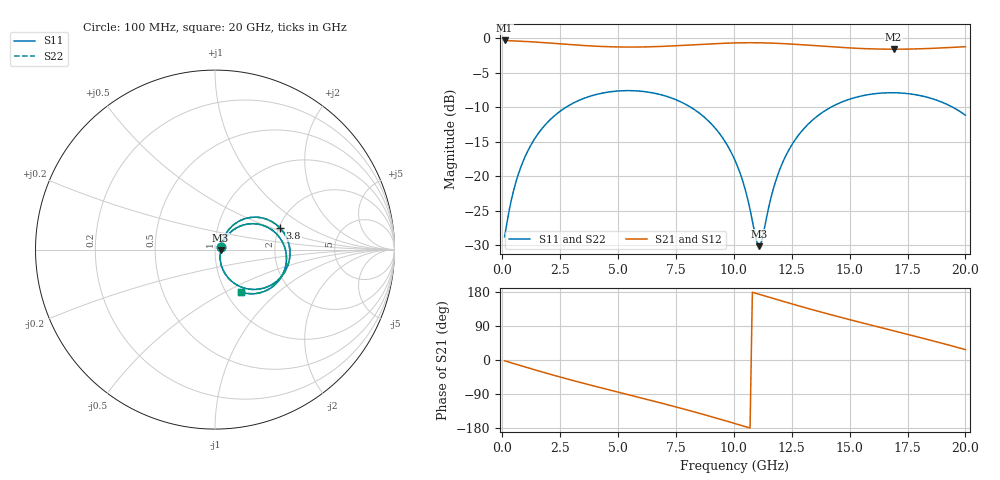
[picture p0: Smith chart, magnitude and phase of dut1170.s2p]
! Touchstone file exported from HFSS 2026.1.0
!  File:  C:/ffzhzh/LocalFiles/Ansys_Project_Files/temp_train_TSV_RDL_1170_1783314082_5512.aedt
!  Generated:  01:14:10 PM Jul  6, 2026
!  Design:  TSV_RDL
!  Project:  temp_train_TSV_RDL_1170_1783314082_5512
! Variables:
!  h_bsmrdl = 2.6um
!  h_ox = 20um
!  h_rdl = 5um
!  h_sub = 72.9um
!  h_tmrdl = 4.33um
!  h_tsv = 72.9um
!  h_via = 3um
!  l_bsmrdl = 504.16um
!  l_sub = 5756.35um
!  l_tmrdl = 935.64um
!  m_sub = 200um
!  pitch = 33.09um
!  r_tsv = 5.62um
!  s_tmrdl = 10um
!  w_bsmrdl = 12.17um
!  w_sub = 500um
!  w_tmrdl = 21.6um
!  x_tsv_center1 = 946.44um
!  x_tsv_center2 = 1462.77um
!  x_tsv_center3 = 2420.01um
!  x_tsv_center4 = 2936.34um
!  x_tsv_center5 = 3893.58um
!  x_tsv_center6 = 4409.91um
# GHz S MA R 50.000000
! Terminal data exported
! Port[1] = TM_RDL1_1_T1
! Port[2] = TM_RDL5_1_T1
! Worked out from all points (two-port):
!   200 points, 100 MHz to 20 GHz, reference 50 ohm
!   highest |S21| = -0.29 dB at 100 MHz (marker M1); lowest = -1.6 dB at 16.9 GHz (marker M2)
!   |S21| within 3 dB of the highest: start of sweep to end of sweep
!   lowest |S11| = -30.1 dB at 11.1 GHz (marker M3), VSWR 1.06, Z = 53.2 - j0.474 ohm
!   |S11| at or under -10 dB: start of sweep to 2.738 GHz; 8.153 GHz to 14.18 GHz (6.022 GHz wide, 53.9 % of centre); 19.47 GHz to end of sweep
!   |S22| runs from -30.3 to -7.6 dB; largest |S21 - S12| = 2.2e-14
!   S11 on the Smith chart (normalised r, x): 100 MHz: 1.07, +0.03; 3.8 GHz: 2.03, +0.57; 20 GHz: 1.17, -0.60
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0.1  0.03647 23.8  0.967 -2.0  0.967 -2.0  0.03647 23.8
! Gamma 0 0 0 0
! Port Impedance 50 0 50 0
0.6  0.09251 54.5  0.9586 -11.4  0.9586 -11.4  0.09251 54.5
1.3  0.1762 52.8  0.9449 -24.1  0.9449 -24.1  0.1762 52.8
2.3  0.2795 40.2  0.9193 -41.6  0.9193 -41.6  0.2795 40.2
3.5  0.3666 22.8  0.889 -61.4  0.889 -61.4  0.3666 22.8
3.8  0.3817 18.4  0.8829 -66.1  0.8829 -66.1  0.3817 18.4
5.3  0.4184 -3.2  0.8662 -89.4  0.8662 -89.4  0.4184 -3.2
6.8  0.3929 -24.8  0.8746 -112.7  0.8746 -112.7  0.3929 -24.8
8.8  0.262 -53.9  0.9104 -145.6  0.9104 -145.6  0.2619 -53.9
9.5  0.192 -63.1  0.9222 -157.8  0.9222 -157.8  0.1919 -63.1
10.1  0.1251 -68.2  0.9288 -168.6  0.9288 -168.6  0.125 -68.4
10.5  0.0794 -66.5  0.9309 -175.8  0.9309 -175.8  0.07919 -66.8
11  0.03322 -28.3  0.9305 175.1  0.9305 175.1  0.03269 -28.6
11.1  0.03123 -8.2  0.93 173.3  0.93 173.3  0.03067 -8.1
11.7  0.08066 46.8  0.9242 162.4  0.9242 162.4  0.08045 47.2
12.1  0.1253 48.3  0.918 155.2  0.918 155.2  0.1252 48.6
13.4  0.2563 34.2  0.8893 132.6  0.8893 132.6  0.2562 34.4
15  0.363 11.6  0.8536 106.5  0.8536 106.5  0.363 11.7
16.7  0.4041 -12.3  0.8358 80.1  0.8358 80.1  0.4041 -12.1
16.9  0.4042 -15.1  0.8356 77.0  0.8356 77.0  0.4042 -14.9
18.5  0.3689 -37.6  0.8467 52.1  0.8467 52.1  0.3689 -37.4
20  0.2778 -58.3  0.8713 27.4  0.8713 27.4  0.2778 -58.1
